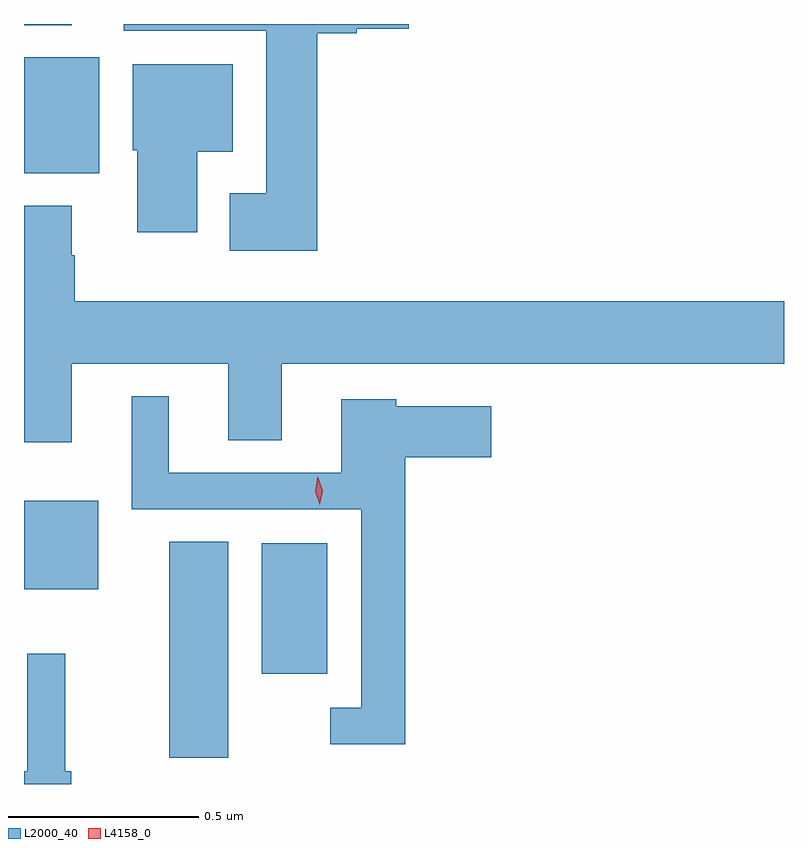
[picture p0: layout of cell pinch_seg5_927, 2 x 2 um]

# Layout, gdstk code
import gdstk
lib = gdstk.Library(unit=1e-6, precision=1e-09)
def R(c, l, rs):  # rectangles x0, y0, x1, y1
    for r in rs: c.add(gdstk.rectangle(r[:2], r[2:], *l))
def P(c, l, *ps):  # polygons
    for p in ps: c.add(gdstk.Polygon(p, *l))
L2000_40 = (2000, 40)
L4158_0 = (4158, 0)

pinch_seg5_927 = lib.new_cell('pinch_seg5_927')
R(pinch_seg5_927, L2000_40, [(754.073,887.691,754.228,888.26), (754.316,887.912,754.489,888.256), (753.691,888.134,753.886,888.367), (753.691,889.229,753.889,889.534), (753.691,889.619,753.817,889.622)])
P(pinch_seg5_927, L2000_40, [(754.463,889.598),(754.566,889.598),(754.566,889.61),(754.703,889.61),(754.703,889.622),(753.953,889.622),(753.953,889.604),(754.328,889.604),(754.328,889.177),(754.233,889.177),(754.233,889.025),(754.463,889.025)],
  [(754.147,889.286),(754.24,889.286),(754.24,889.516),(753.977,889.516),(753.977,889.29),(753.989,889.29),(753.989,889.074),(754.147,889.074)],
  [(753.817,888.728),(754.229,888.728),(754.229,888.526),(754.369,888.526),(754.369,888.728),(755.691,888.728),(755.691,888.892),(753.825,888.892),(753.825,889.013),(753.817,889.013),(753.817,889.144),(753.691,889.144),(753.691,888.522),(753.817,888.522)],
  [(754.694,888.482),(754.921,888.482),(754.921,888.616),(754.671,888.616),(754.671,888.634),(754.526,888.634),(754.526,888.441),(754.072,888.441),(754.072,888.643),(753.974,888.643),(753.974,888.345),(754.578,888.345),(754.578,887.823),(754.497,887.823),(754.497,887.726),(754.694,887.726)],
  [(753.815,887.656),(753.8,887.656),(753.8,887.965),(753.699,887.965),(753.699,887.656),(753.691,887.656),(753.691,887.622),(753.815,887.622)])
P(pinch_seg5_927, L4158_0, [(754.469,888.357),(754.469,888.358),(754.457,888.393),(754.464,888.43),(754.464,888.43),(754.464,888.43),(754.477,888.394),(754.469,888.358)])

lib.write_gds('pinch_seg5_927.gds')
